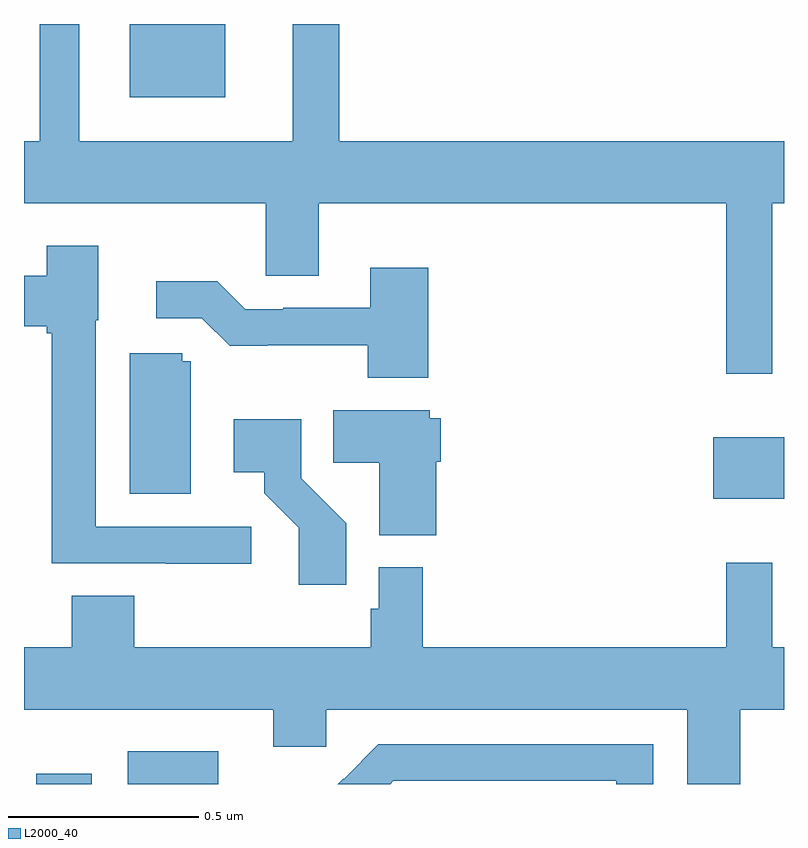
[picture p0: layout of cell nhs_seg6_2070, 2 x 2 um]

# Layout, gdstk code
import gdstk
lib = gdstk.Library(unit=1e-6, precision=1e-09)
def R(c, l, rs):  # rectangles x0, y0, x1, y1
    for r in rs: c.add(gdstk.rectangle(r[:2], r[2:], *l))
def P(c, l, *ps):  # polygons
    for p in ps: c.add(gdstk.Polygon(p, *l))
L2000_40 = (2000, 40)

nhs_seg6_2070 = lib.new_cell('nhs_seg6_2070')
R(nhs_seg6_2070, L2000_40, [(138.032,920.5,138.178,920.527), (138.273,920.5,138.511,920.586), (139.814,921.251,140,921.412), (138.278,922.307,138.529,922.5)])
P(nhs_seg6_2070, L2000_40, [(139.969,922.028),(140,922.028),(140,922.192),(138.829,922.192),(138.829,922.5),(138.707,922.5),(138.707,922.192),(138.145,922.192),(138.145,922.5),(138.041,922.5),(138.041,922.192),(138,922.192),(138,922.028),(138.636,922.028),(138.636,921.838),(138.775,921.838),(138.775,922.028),(139.848,922.028),(139.848,921.579),(139.969,921.579)],
  [(138.598,921.177),(138.189,921.177),(138.189,921.72),(138.196,921.72),(138.196,921.916),(138.06,921.916),(138.06,921.838),(138,921.838),(138,921.704),(138.06,921.704),(138.06,921.686),(138.073,921.686),(138.073,921.081),(138.373,921.081),(138.373,921.079),(138.598,921.079)],
  [(139.064,921.859),(138.911,921.859),(138.911,921.753),(138.682,921.753),(138.682,921.75),(138.582,921.75),(138.509,921.823),(138.348,921.823),(138.348,921.726),(138.468,921.726),(138.541,921.653),(138.64,921.653),(138.64,921.654),(138.904,921.654),(138.904,921.569),(139.064,921.569)],
  [(138.439,921.612),(138.417,921.612),(138.417,921.633),(138.278,921.633),(138.278,921.264),(138.439,921.264)],
  [(139.085,921.348),(139.097,921.348),(139.097,921.462),(139.068,921.462),(139.068,921.484),(138.814,921.484),(138.814,921.346),(138.935,921.346),(138.935,921.155),(139.085,921.155)],
  [(138.848,921.186),(138.729,921.305),(138.729,921.46),(138.552,921.46),(138.552,921.32),(138.632,921.32),(138.632,921.265),(138.723,921.175),(138.723,921.024),(138.848,921.024)],
  [(139.885,920.696),(140,920.696),(140,920.86),(139.969,920.86),(139.969,921.082),(139.848,921.082),(139.848,920.86),(139.049,920.86),(139.049,921.07),(138.933,921.07),(138.933,920.961),(138.913,920.961),(138.913,920.86),(138.29,920.86),(138.29,920.996),(138.125,920.996),(138.125,920.86),(138,920.86),(138,920.696),(138.656,920.696),(138.656,920.598),(138.795,920.598),(138.795,920.696),(139.745,920.696),(139.745,920.5),(139.885,920.5)],
  [(138.972,920.508),(139.559,920.508),(139.559,920.5),(139.656,920.5),(139.656,920.604),(138.932,920.604),(138.841,920.513),(138.84,920.514),(138.826,920.5),(138.964,920.5)])

lib.write_gds('nhs_seg6_2070.gds')
